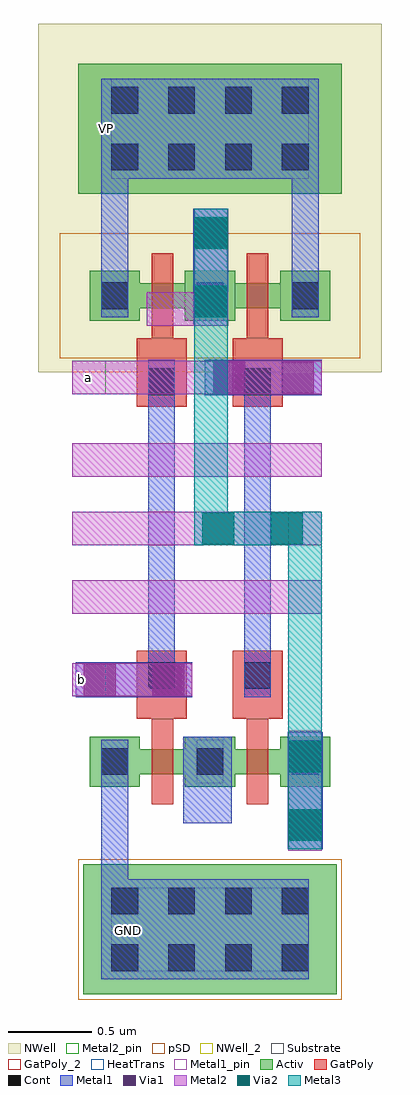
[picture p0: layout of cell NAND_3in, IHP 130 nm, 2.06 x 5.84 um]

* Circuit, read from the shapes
.subckt NAND_3in GND VP a b
XM1 n1 b GND GND sg13_lv_nmos w=0.15u l=0.13u
XM2 n2 a n1 GND sg13_lv_nmos w=0.15u l=0.13u
XM3 n2 b VP VP sg13_lv_pmos w=0.15u l=0.13u
XM4 VP a n2 VP sg13_lv_pmos w=0.15u l=0.13u
.ends

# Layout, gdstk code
from math import pi, radians
import gdstk
lib = gdstk.Library(unit=1e-6, precision=1e-09)
def R(c, l, rs):  # rectangles x0, y0, x1, y1
    for r in rs: c.add(gdstk.rectangle(r[:2], r[2:], *l))
def A(c, l, x, y, w, h, nx, ny, dx, dy):  # array of equal rectangles
    R(c, l, [(x+i*dx, y+j*dy, x+i*dx+w, y+j*dy+h) for i in range(nx) for j in range(ny)])
Activ = (1, 0)
GatPoly = (5, 0)
GatPoly_2 = (5, 2)
Cont = (6, 0)
Metal1 = (8, 0)
Metal1_pin = (8, 2)
Metal2 = (10, 0)
Metal2_pin = (10, 2)
pSD = (14, 0)
Via1 = (19, 0)
Via2 = (29, 0)
Metal3 = (30, 0)
NWell = (31, 0)
NWell_2 = (31, 2)
Substrate = (40, 0)
HeatTrans = (51, 0)

nmos_1 = lib.new_cell('nmos$1')
R(nmos_1, Activ, [(0,0,0.3,0.3), (0.57,0,0.87,0.3), (0,0.075,0.87,0.225)])
R(nmos_1, GatPoly, [(0.37,-0.105,0.5,0.405)])
R(nmos_1, GatPoly_2, [(0.37,-0.105,0.5,0.405)])
R(nmos_1, Cont, [(0.07,0.07,0.23,0.23), (0.64,0.07,0.8,0.23)])
R(nmos_1, Metal1, [(0.07,0.02,0.23,0.28), (0.64,0.02,0.8,0.28)])
R(nmos_1, Metal1_pin, [(0.07,0.02,0.23,0.28), (0.64,0.02,0.8,0.28)])
R(nmos_1, HeatTrans, [(0.37,-0.105,0.5,0.405)])
nmos_1.add(gdstk.Label('nmos', (0.435,0.15), layer=63, texttype=0))
nmos_1.add(gdstk.Label('nmos', (0.435,0.15), layer=51, texttype=0))

ptap1 = lib.new_cell('ptap1')
R(ptap1, Activ, [(0,0,1.52,0.78)])
A(ptap1, Cont, 0.17, 0.14, 0.16, 0.16, 4, 2, 0.34, 0.34)
R(ptap1, Metal1, [(0.17,0.09,1.35,0.69), (0.17,0.14,1.35,0.64)])
R(ptap1, Metal1_pin, [(0.17,0.14,1.35,0.64)])
R(ptap1, pSD, [(-0.03,-0.03,1.55,0.81)])
R(ptap1, Substrate, [(0,0,1.52,0.78)])
ptap1.add(gdstk.Label('sub!', (0.76,0.01), layer=63, texttype=0))
ptap1.add(gdstk.Label('sub!', (0.76,0.01), layer=40, texttype=0))

via_3 = lib.new_cell('Via$3')
R(via_3, GatPoly, [(-0.15,-0.15,0.15,0.15)])
R(via_3, Cont, [(-0.08,-0.08,0.08,0.08)])
R(via_3, Metal1, [(-0.13,-0.08,0.13,0.08)])

via_5 = lib.new_cell('Via$5')
R(via_5, Metal1, [(-0.105,-0.35,0.105,0.35)])
R(via_5, Metal2, [(-0.1,-0.36,0.1,0.36)])
R(via_5, Via1, [(-0.095,-0.3,0.095,-0.11), (-0.095,0.11,0.095,0.3)])

via_7 = lib.new_cell('Via$7')
R(via_7, Metal2, [(-0.35,-0.1,0.35,0.1)])
R(via_7, Via2, [(-0.3,-0.095,-0.11,0.095), (0.11,-0.095,0.3,0.095)])
R(via_7, Metal3, [(-0.35,-0.1,0.35,0.1)])

via_2_1 = lib.new_cell('Via$2$1')
R(via_2_1, Metal1, [(-0.105,-0.35,0.105,0.35)])
R(via_2_1, Metal2, [(-0.1,-0.35,0.1,0.35)])
R(via_2_1, Via1, [(-0.095,-0.3,0.095,-0.11), (-0.095,0.11,0.095,0.3)])

via_4 = lib.new_cell('Via$4')
R(via_4, Metal2, [(-0.1,-0.35,0.1,0.35)])
R(via_4, Via2, [(-0.095,-0.3,0.095,-0.11), (-0.095,0.11,0.095,0.3)])
R(via_4, Metal3, [(-0.1,-0.35,0.1,0.35)])

pmos_1 = lib.new_cell('pmos$1')
R(pmos_1, Activ, [(0,0,0.3,0.3), (0.57,0,0.87,0.3), (0,0.075,0.87,0.225)])
R(pmos_1, GatPoly, [(0.37,-0.105,0.5,0.405), (0.37,-0.105,0.5,0.405)])
R(pmos_1, Cont, [(0.07,0.07,0.23,0.23), (0.64,0.07,0.8,0.23)])
R(pmos_1, Metal1, [(0.07,0.02,0.23,0.28), (0.07,0.02,0.23,0.28), (0.64,0.02,0.8,0.28), (0.64,0.02,0.8,0.28)])
R(pmos_1, pSD, [(-0.18,-0.225,1.05,0.525)])
R(pmos_1, NWell, [(-0.31,-0.31,1.18,0.61)])
R(pmos_1, Substrate, [(0.57,0,0.87,0.3)])
R(pmos_1, HeatTrans, [(0.37,-0.105,0.5,0.405)])
pmos_1.add(gdstk.Label('pmos', (0.435,0.15), layer=63, texttype=0))
pmos_1.add(gdstk.Label('pmos', (0.435,0.15), layer=51, texttype=0))

ntap1 = lib.new_cell('ntap1')
R(ntap1, Activ, [(0,0,1.58,0.78)])
A(ntap1, Cont, 0.2, 0.14, 0.16, 0.16, 4, 2, 0.34, 0.34)
R(ntap1, Metal1, [(0.2,0.09,1.38,0.69)])
R(ntap1, Metal1_pin, [(0.2,0.09,1.38,0.69), (0.2,0.14,1.38,0.64)])
R(ntap1, NWell, [(-0.24,-0.24,1.82,1.02), (0,0,1.58,0.78)])
R(ntap1, NWell_2, [(0,0,1.58,0.78)])
ntap1.add(gdstk.Label('well', (0.79,0.01), layer=63, texttype=0))
ntap1.add(gdstk.Label('well', (0.79,0.01), layer=31, texttype=0))

nand_3in = lib.new_cell('NAND_3in')
R(nand_3in, GatPoly, [(6.865,7.06,7.165,7.17), (7.44,7.06,7.74,7.17), (6.865,9.23,7.165,9.34), (7.44,9.23,7.74,9.34)])
R(nand_3in, Metal1, [(7.145,6.435,7.435,6.955)])
R(nand_3in, Metal1_pin, [(6.715,5.695,6.915,5.895), (6.715,10.495,6.915,10.695)])
R(nand_3in, Metal2, [(6.48,7.195,7.2,7.395)])
R(nand_3in, Metal2_pin, [(6.48,7.195,6.68,7.395), (7.775,8.1,7.975,8.3), (6.48,9.005,6.68,9.205)])
nand_3in.add(gdstk.FlexPath([(6.735,6.1),(6.735,5.5)], 0.16, ends="flush", simple_path=True, layer=8, datatype=0))  # Metal1
nand_3in.add(gdstk.FlexPath([(7.875,6.63),(7.875,6.63)], 0.16, ends="flush", simple_path=True, layer=8, datatype=0))  # Metal1
nand_3in.add(gdstk.FlexPath([(6.735,6.675),(6.735,6.1)], 0.16, ends="flush", simple_path=True, layer=8, datatype=0))  # Metal1
nand_3in.add(gdstk.FlexPath([(7.875,10.295),(7.875,10.895)], 0.16, ends="flush", simple_path=True, layer=8, datatype=0))  # Metal1
nand_3in.add(gdstk.FlexPath([(6.735,10.295),(6.735,10.895)], 0.16, ends="flush", simple_path=True, layer=8, datatype=0))  # Metal1
nand_3in.add(gdstk.FlexPath([(7.015,8.815),(7.015,8.815)], 0.16, ends="flush", simple_path=True, layer=8, datatype=0))  # Metal1
nand_3in.add(gdstk.FlexPath([(7.59,8.6),(7.59,8.95)], 0.16, ends="flush", simple_path=True, layer=8, datatype=0))  # Metal1
nand_3in.add(gdstk.FlexPath([(7.015,8.95),(7.015,8.73)], 0.16, ends="flush", simple_path=True, layer=8, datatype=0))  # Metal1
nand_3in.add(gdstk.FlexPath([(7.875,9.725),(7.875,10.895)], 0.16, ends="flush", simple_path=True, layer=8, datatype=0))  # Metal1
nand_3in.add(gdstk.FlexPath([(6.735,9.725),(6.735,10.895)], 0.16, ends="flush", simple_path=True, layer=8, datatype=0))  # Metal1
nand_3in.add(gdstk.FlexPath([(7.015,7.45),(7.015,8.76)], 0.16, ends="flush", simple_path=True, layer=8, datatype=0))  # Metal1
nand_3in.add(gdstk.FlexPath([(7.59,7.45),(7.59,8.63)], 0.16, ends="flush", simple_path=True, layer=8, datatype=0))  # Metal1
nand_3in.add(gdstk.FlexPath([(7.02,9.34),(7.02,9.34)], 0.16, ends="flush", simple_path=True, layer=5, datatype=0))  # GatPoly
nand_3in.add(gdstk.FlexPath([(7.875,6.63),(7.875,6.63)], 0.2, ends="flush", simple_path=True, layer=10, datatype=0))  # Metal2
nand_3in.add(gdstk.FlexPath([(6.48,7.79),(7.975,7.79)], 0.2, ends="flush", simple_path=True, layer=10, datatype=0))  # Metal2
nand_3in.add(gdstk.FlexPath([(6.48,8.2),(7.975,8.2)], 0.2, ends="flush", simple_path=True, layer=10, datatype=0))  # Metal2
nand_3in.add(gdstk.FlexPath([(6.48,8.61),(7.975,8.61)], 0.2, ends="flush", simple_path=True, layer=10, datatype=0))  # Metal2
nand_3in.add(gdstk.FlexPath([(6.48,9.105),(7.975,9.105)], 0.2, ends="flush", simple_path=True, layer=10, datatype=0))  # Metal2
nand_3in.add(gdstk.FlexPath([(7.415,9.515),(6.925,9.515)], 0.2, ends="flush", simple_path=True, layer=10, datatype=0))  # Metal2
nand_3in.add(gdstk.FlexPath([(7.875,6.885),(7.875,8.3)], 0.2, ends="flush", simple_path=True, layer=30, datatype=0))  # Metal3
nand_3in.add(gdstk.FlexPath([(7.31,9.535),(7.31,8.59)], 0.2, ends="flush", simple_path=True, layer=30, datatype=0))  # Metal3
nand_3in.add(gdstk.FlexPath([(7.31,8.62),(7.31,8.1)], 0.2, ends="flush", simple_path=True, layer=30, datatype=0))  # Metal3
nand_3in.add(gdstk.Reference(nmos_1, (6.585,6.655)))
nand_3in.add(gdstk.Reference(nmos_1, (7.155,6.655)))
nand_3in.add(gdstk.Reference(ptap1, (6.545,5.41)))
nand_3in.add(gdstk.Reference(via_3, (7.59,7.32), rotation=3*pi/2))
nand_3in.add(gdstk.Reference(via_3, (7.015,7.32), rotation=3*pi/2))
nand_3in.add(gdstk.Reference(via_5, (7.875,6.63), rotation=pi))
nand_3in.add(gdstk.Reference(via_7, (7.56,8.2)))
nand_3in.add(gdstk.Reference(via_2_1, (6.85,7.295), rotation=3*pi/2))
nand_3in.add(gdstk.Reference(via_4, (7.31,9.765), rotation=pi))
nand_3in.add(gdstk.Reference(via_2_1, (7.31,9.765), rotation=pi))
nand_3in.add(gdstk.Reference(via_2_1, (7.625,9.105), rotation=3*pi/2))
nand_3in.add(gdstk.Reference(via_3, (7.59,9.08), rotation=pi/2))
nand_3in.add(gdstk.Reference(pmos_1, (7.155,9.445)))
nand_3in.add(gdstk.Reference(via_3, (7.015,9.08), rotation=pi/2))
nand_3in.add(gdstk.Reference(ntap1, (6.515,10.205)))
nand_3in.add(gdstk.Reference(pmos_1, (6.585,9.445)))
nand_3in.add(gdstk.Reference(via_4, (7.875,6.63), rotation=pi))
nand_3in.add(gdstk.Label('b', (6.535,7.295), layer=10, texttype=25))
nand_3in.add(gdstk.Label('a', (6.58,9.105), layer=10, texttype=25))
nand_3in.add(gdstk.Label('GND', (6.815,5.795), layer=8, texttype=25))
nand_3in.add(gdstk.Label('VP', (6.685,10.595), layer=8, texttype=25))

lib.write_gds('NAND_3in.gds')
